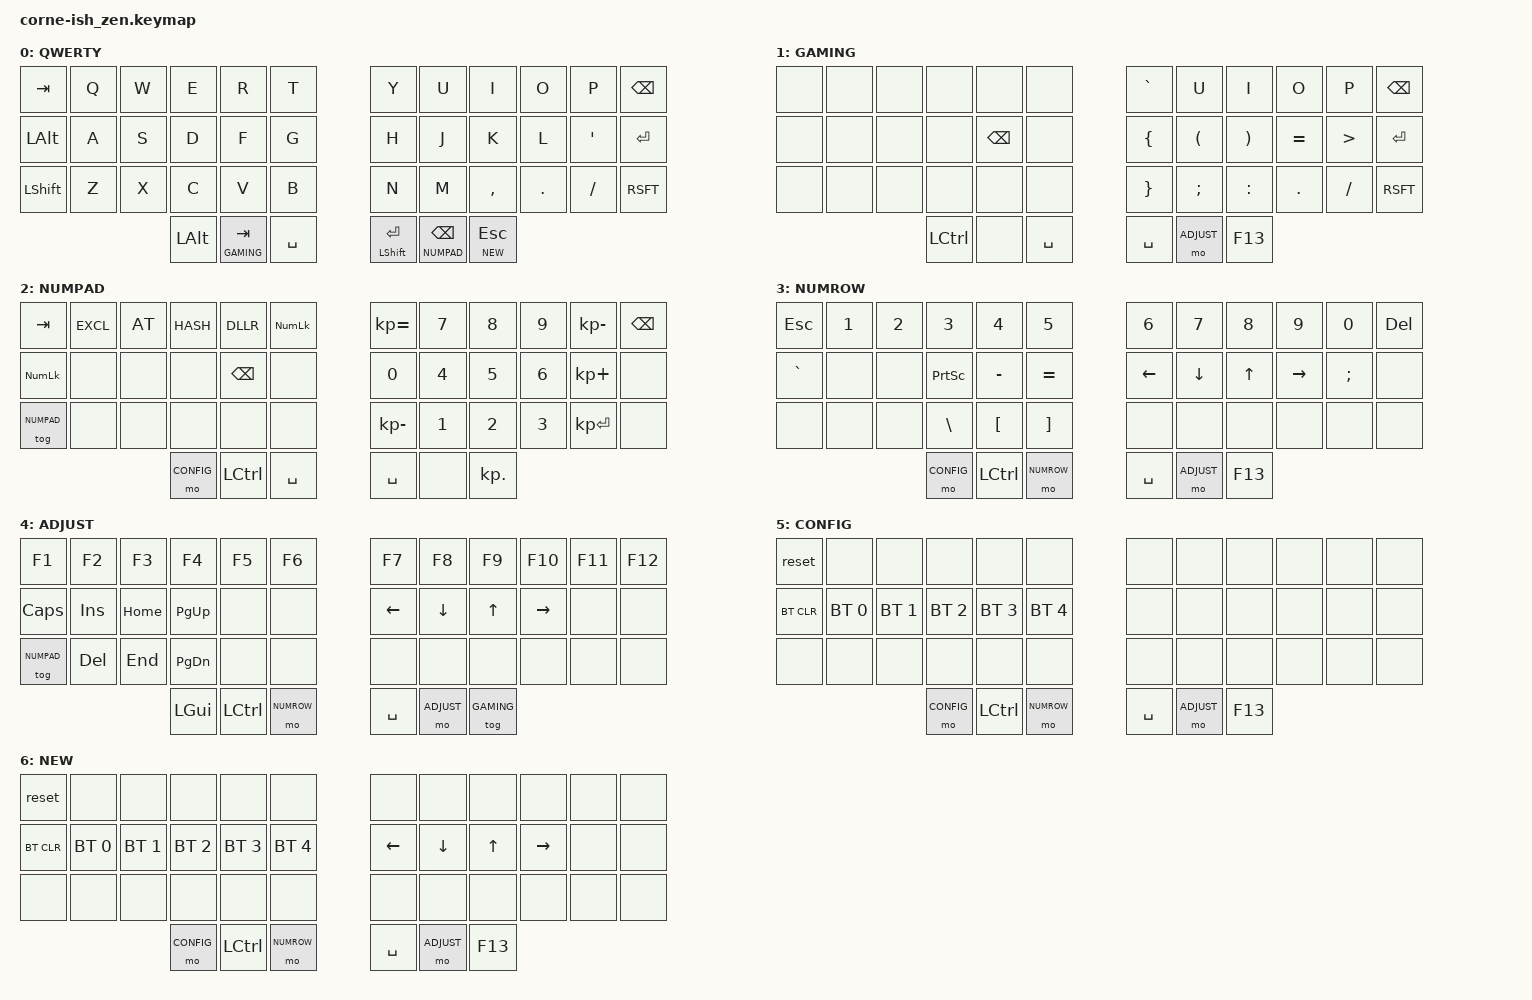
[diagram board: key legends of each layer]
/*
*
* Copyright (c) 2021 lowprokb.ca
* SPDX-License-Identifier: MIT
*
*/

#include <behaviors.dtsi>
#include <dt-bindings/zmk/keys.h>
#include <dt-bindings/zmk/bt.h>

#define QWERTY 0
#define GAMING 1
#define NUMPAD 2
#define NUMROW 3
#define ADJUST 4
#define CONFIG 5
#define NEW 6

/ {
        keymap {
                compatible = "zmk,keymap";

                default_layer {
                        label = "QWERTY";
                        bindings = <
   &kp TAB   	&kp Q	&kp W 	&kp E 		&kp R 					&kp T    					&kp Y 						&kp U 						&kp I    		&kp O   	&kp P    	&kp BKSP
   &kp LALT  	&kp A	&kp S 	&kp D 		&kp F 					&kp G    					&kp H 						&kp J 						&kp K    		&kp L   	&kp QUOT 	&kp ENTER
   &kp LSHFT 	&kp Z &kp X 	&kp C 		&kp V 					&kp B    					&kp N 						&kp M 						&kp CMMA 		&kp DOT 	&kp FSLH	&kp RSFT
              							&kp LALT 	&lt GAMING TAB 	&kp SPC    				&mt LSHIFT ENTER 	&lt NUMPAD BKSP 	&lt NEW ESC
                        >;
                };

                gaming_layer {
                        label = "GAMING";
                        bindings = <
   &none	&none		&none			&none  		&none   	&none     			&kp GRAVE 	&kp U 			&kp I    		&kp O   		&kp P   	&kp BKSP
   &none	&none		&none			&none  		&kp BKSP  &none   				&kp LBRC 		&kp LPAR 		&kp RPAR 		&kp EQUAL 	&kp GT 		&kp ENTER
   &none	&none		&none			&none  		&none   	&none    				&kp RBRC		&kp SEMI		&kp COLON		&kp DOT 		&kp FSLH 	&kp RSFT
               							&kp LCTL 	&none			&kp SPC    			&kp SPC 		&mo ADJUST 	&kp F13
                        >;
                };

                numpad_layer {
                        label = "NUMPAD";
                        bindings = < 
   &kp TAB     &EXCL &AT	 	&HASH 			&DLLR 		&kp KP_NUMLOCK    	&kp KP_EQUAL    &kp N7 		&kp N8 			&kp N9 &kp KP_MINUS &kp BSPC
   &kp KP_NLCK &none &none 	&none 			&kp BKSP 	&none    						&kp N0			 		&kp N4 		&kp N5 			&kp N6 &kp KP_PLUS  &none
   &tog NUMPAD &none &none 	&none 			&none 		&none    						&kp KP_MINUS 		&kp N1 		&kp N2 			&kp N3 &kp KP_ENTER &none
              							&mo CONFIG 	&kp LCTL 	&kp SPC    					&kp SPC 				&none			&kp KP_DOT
                        >;
                };

                numrow_layer {
                        label = "NUMROW";
                        bindings = <
   &kp ESC   &kp N1 &kp N2 &kp N3    &kp N4    &kp N5       &kp N6   &kp N7   &kp N8 &kp N9    &kp N0   &kp DEL
   &kp GRAVE &none  &none  &kp PSCRN &kp MINUS &kp EQUAL    &kp LEFT &kp DOWN &kp UP &kp RIGHT &kp SEMI &none
   &none     &none  &none  &kp BSLH  &kp LBKT  &kp RBKT     &none    &none    &none  &none     &none    &none 
                          &mo CONFIG &kp LCTL &mo NUMROW    &kp SPC &mo ADJUST &kp F13
                        >;
                };

                adjust_layer {
                        label = "ADJUST";
                        bindings = <
   &kp F1      &kp F2  &kp F3   &kp F4    &kp F5 &kp F6    &kp F7   &kp F8   &kp F9 &kp F10   &kp F11 &kp F12
   &kp CAPS    &kp INS &kp HOME &kp PG_UP &none  &none     &kp LEFT &kp DOWN &kp UP &kp RIGHT &none   &none
   &tog NUMPAD &kp DEL &kp END  &kp PG_DN &none  &none     &none    &none    &none  &none     &none   &none
                           &kp LGUI &kp LCTL &mo NUMROW    &kp SPC &mo ADJUST &tog GAMING
                        >;
                };

                config_layer {
                        label = "CONFIG";
                        bindings = <
   &reset     &none        &none        &none        &none        &none           &none &none &none &none &none &none 
   &bt BT_CLR &bt BT_SEL 0 &bt BT_SEL 1 &bt BT_SEL 2 &bt BT_SEL 3 &bt BT_SEL 4    &none &none &none &none &none &none
   &none      &none        &none        &none        &none        &none           &none &none &none &none &none &none
                                                &mo CONFIG &kp LCTL &mo NUMROW    &kp SPC &mo ADJUST &kp F13
                        >;
                };
                newlayer {
                        label = "NEW";
                        bindings = <
   &reset     &none        &none        &none        &none        &none           &none &none &none &none &none &none 
   &bt BT_CLR &bt BT_SEL 0 &bt BT_SEL 1 &bt BT_SEL 2 &bt BT_SEL 3 &bt BT_SEL 4    &kp LEFT &kp DOWN &kp UP &kp RIGHT &none &none
   &none      &none        &none        &none        &none        &none           &none &none &none &none &none &none
                                                &mo CONFIG &kp LCTL &mo NUMROW    &kp SPC &mo ADJUST &kp F13
                        >;
                };
        };
};
